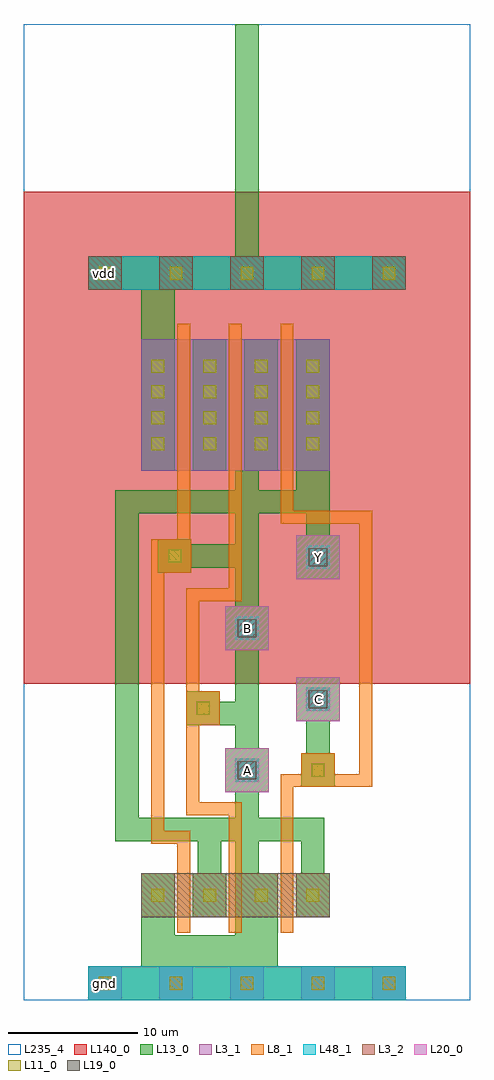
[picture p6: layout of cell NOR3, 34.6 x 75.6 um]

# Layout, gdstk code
import gdstk
lib = gdstk.Library(unit=1e-6, precision=1e-09)
def R(c, l, rs):  # rectangles x0, y0, x1, y1
    for r in rs: c.add(gdstk.rectangle(r[:2], r[2:], *l))
def A(c, l, x, y, w, h, nx, ny, dx, dy):  # array of equal rectangles
    R(c, l, [(x+i*dx, y+j*dy, x+i*dx+w, y+j*dy+h) for i in range(nx) for j in range(ny)])
def P(c, l, *ps):  # polygons
    for p in ps: c.add(gdstk.Polygon(p, *l))
L3_1 = (3, 1)
L3_2 = (3, 2)
L8_1 = (8, 1)
L11_0 = (11, 0)
L13_0 = (13, 0)
L19_0 = (19, 0)
L20_0 = (20, 0)
L48_1 = (48, 1)
L140_0 = (140, 0)
L235_4 = (235, 4)

nor3 = lib.new_cell('NOR3')
A(nor3, L3_1, 5, 0, 2.6, 2.6, 5, 1, 5.5, 0)
R(nor3, L3_1, [(9.1,41,23.7,51.2)])
A(nor3, L3_2, 5, 55, 2.6, 2.6, 5, 1, 5.5, 0)
R(nor3, L3_2, [(9.1,6.4,23.7,9.8)])
P(nor3, L8_1, [(11.9,5.2),(11.9,12.1),(9.9,12.1),(9.9,35.7),(11.9,35.7),(11.9,52.4),(12.9,52.4),(12.9,35.7),(13,35.7),(13,33.1),(10.9,33.1),(10.9,13.1),(12.9,13.1),(12.9,5.2)],
  [(15.9,5.2),(15.9,14.3),(12.6,14.3),(12.6,31.9),(15.9,31.9),(15.9,52.4),(16.9,52.4),(16.9,30.9),(13.6,30.9),(13.6,23.9),(15.2,23.9),(15.2,21.3),(13.6,21.3),(13.6,15.3),(16.9,15.3),(16.9,5.2)],
  [(19.9,5.2),(19.9,17.5),(21.5,17.5),(21.5,19.1),(24.1,19.1),(24.1,17.5),(26,17.5),(26,36.9),(19.9,36.9),(19.9,52.4),(20.9,52.4),(20.9,37.9),(27,37.9),(27,16.5),(20.9,16.5),(20.9,5.2)])
A(nor3, L11_0, 5.8, 0.8, 1, 1, 5, 2, 5.5, 55)
A(nor3, L11_0, 9.9, 42.6, 1, 1, 1, 4, 0, 2)
A(nor3, L11_0, 21.9, 42.6, 1, 1, 1, 4, 0, 2)
R(nor3, L11_0, [(9.9,7.6,10.9,8.6), (13.9,7.6,14.9,8.6), (13.9,7.6,14.9,8.6), (17.9,7.6,18.9,8.6), (17.9,7.6,18.9,8.6), (21.9,7.6,22.9,8.6), (22.3,17.3,23.3,18.3), (13.4,22.1,14.4,23.1), (11.2,33.9,12.2,34.9), (13.9,42.6,14.9,43.6), (13.9,42.6,14.9,43.6), (17.9,42.6,18.9,43.6), (17.9,42.6,18.9,43.6), (13.9,44.6,14.9,45.6), (13.9,44.6,14.9,45.6), (17.9,44.6,18.9,45.6), (17.9,44.6,18.9,45.6), (13.9,46.6,14.9,47.6), (13.9,46.6,14.9,47.6), (17.9,46.6,18.9,47.6), (17.9,46.6,18.9,47.6), (13.9,48.6,14.9,49.6), (13.9,48.6,14.9,49.6), (17.9,48.6,18.9,49.6), (17.9,48.6,18.9,49.6)])
R(nor3, L13_0, [(13.1,41,15.7,51.2)])
P(nor3, L13_0, [(21.5,16.5),(21.5,19.1),(21.9,19.1),(21.9,21.6),(21.1,21.6),(21.1,25),(24.5,25),(24.5,21.6),(23.7,21.6),(23.7,19.1),(24.1,19.1),(24.1,16.5)],
  [(5,0),(5,2.6),(9.1,2.6),(9.1,9.8),(11.7,9.8),(11.7,5),(16.4,5),(16.4,12.3),(15.3,12.3),(15.3,9.8),(15.7,9.8),(15.7,6.4),(13.1,6.4),(13.1,9.8),(13.5,9.8),(13.5,12.3),(7.1,12.3),(7.1,37.7),(8.9,37.7),(8.9,14.1),(16.4,14.1),(16.4,16.1),(15.6,16.1),(15.6,19.5),(16.4,19.5),(16.4,21.3),(12.6,21.3),(12.6,23.9),(15.2,23.9),(15.2,23.1),(16.4,23.1),(16.4,27.1),(15.6,27.1),(15.6,30.5),(16.4,30.5),(16.4,33.5),(13,33.5),(13,33.1),(10.4,33.1),(10.4,35.7),(13,35.7),(13,35.3),(16.4,35.3),(16.4,37.7),(7.1,37.7),(7.1,39.5),(16.4,39.5),(16.4,41),(17.1,41),(17.1,51.2),(19.7,51.2),(19.7,41),(18.2,41),(18.2,39.5),(21.1,39.5),(21.1,51.2),(23.7,51.2),(23.7,36),(24.5,36),(24.5,32.6),(21.1,32.6),(21.1,36),(21.9,36),(21.9,37.7),(18.2,37.7),(18.2,30.5),(19,30.5),(19,27.1),(18.2,27.1),(18.2,19.5),(19,19.5),(19,16.1),(18.2,16.1),(18.2,14.1),(23.3,14.1),(23.3,9.8),(23.7,9.8),(23.7,6.4),(21.1,6.4),(21.1,9.8),(21.5,9.8),(21.5,12.3),(18.2,12.3),(18.2,9.8),(19.7,9.8),(19.7,2.6),(29.6,2.6),(29.6,0)],
  [(9.1,41),(9.1,55),(5,55),(5,57.6),(16.4,57.6),(16.4,75.6),(18.2,75.6),(18.2,57.6),(29.6,57.6),(29.6,55),(11.7,55),(11.7,41)])
R(nor3, L19_0, [(16.6,17.1,18,18.5), (22.1,22.6,23.5,24), (16.6,28.1,18,29.5), (22.1,33.6,23.5,35)])
R(nor3, L20_0, [(15.6,16.1,19,19.5), (21.1,21.6,24.5,25), (15.6,27.1,19,30.5), (21.1,32.6,24.5,36)])
R(nor3, L48_1, [(5,0,29.6,2.6), (16.4,16.9,18.2,18.7), (21.9,22.4,23.7,24.2), (16.4,27.9,18.2,29.7), (21.9,33.4,23.7,35.2), (5,55,29.6,57.6)])
R(nor3, L140_0, [(0,24.5,34.6,62.6)])
R(nor3, L235_4, [(0,0,34.6,75.6)])
nor3.add(gdstk.Label('Y', (22.8,34.3), layer=48, texttype=0))
nor3.add(gdstk.Label('A', (17.3,17.8), layer=48, texttype=0))
nor3.add(gdstk.Label('B', (17.3,28.8), layer=48, texttype=0))
nor3.add(gdstk.Label('C', (22.8,23.3), layer=48, texttype=0))
nor3.add(gdstk.Label('vdd', (6.3,56.3), layer=48, texttype=0))
nor3.add(gdstk.Label('gnd', (6.3,1.3), layer=48, texttype=0))
nor3.add(gdstk.Label('A', (17.3,17.8), layer=49, texttype=0))
nor3.add(gdstk.Label('B', (17.3,28.8), layer=49, texttype=0))
nor3.add(gdstk.Label('C', (22.8,23.3), layer=49, texttype=0))
nor3.add(gdstk.Label('Y', (22.8,34.3), layer=49, texttype=0))

lib.write_gds('NOR3.gds')
